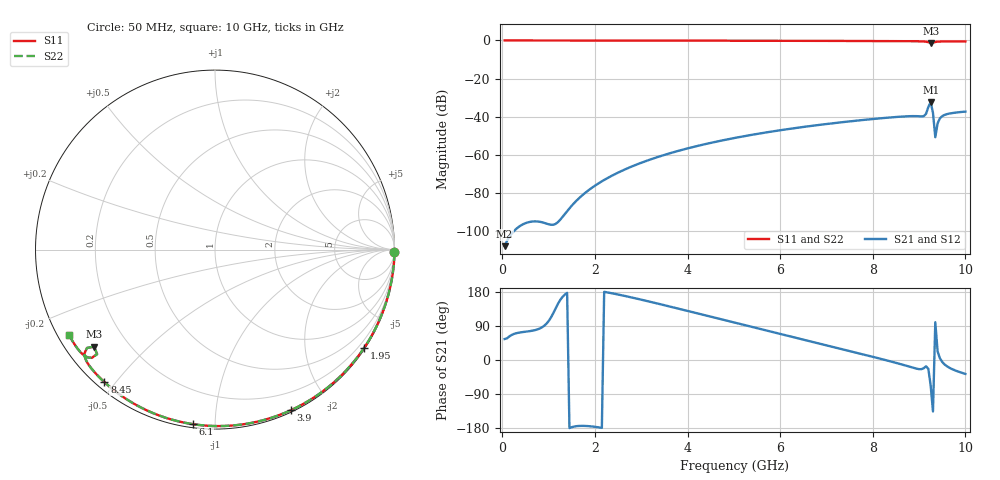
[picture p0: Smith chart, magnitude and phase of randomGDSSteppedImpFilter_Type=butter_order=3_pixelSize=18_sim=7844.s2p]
! freq	dB(S11)	phase(S11)	dB(S12)	phase(S12)
!  dB(S21)	phase(S21)	dB(S22)	phase(S22)
!S-par simulation data
#  GHz  S  DB  R 50
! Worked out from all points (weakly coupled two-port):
!   200 points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, 50 MHz to 10 GHz, reference 50 ohm
!   highest |S21| = -32.32 dB at 9.25 GHz (marker M1); lowest = -107.7 dB at 50 MHz (marker M2)
!   lowest |S11| = -1.3 dB at 9.25 GHz (marker M3), VSWR 13.75, Z = 4.08 - j17.4 ohm
!   |S11| at or under -10 dB: nowhere
!   |S22| runs from -1.3 to 0.0 dB; largest |S21 - S12| = 0
!   S11 on the Smith chart (normalised r, x): 50 MHz: open; 1.95 GHz: 0.03, -3.34; 3.9 GHz: 0.02, -1.58; 6.1 GHz: 0.02, -0.88; 8.45 GHz: 0.02, -0.47; 10 GHz: 0.03, -0.27
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0.05  -0.00 -0.9  -107.72 55.3  -107.72 55.3  -0.00 -0.9
0.9  -0.02 -15.6  -95.47 89.8  -95.47 89.8  -0.02 -15.6
1.75  -0.04 -30.0  -80.61 -173.8  -80.61 -173.8  -0.04 -30.0
1.95  -0.04 -33.3  -76.89 -175.6  -76.89 -175.6  -0.04 -33.3
2.6  -0.06 -44.0  -68.07 170.3  -68.07 170.3  -0.06 -44.0
3.4  -0.08 -56.9  -60.69 147.6  -60.69 147.6  -0.08 -56.9
3.9  -0.09 -64.7  -57.16 132.6  -57.16 132.6  -0.09 -64.7
5.05  -0.13 -82.1  -50.91 97.6  -50.91 97.6  -0.13 -82.1
6.1  -0.17 -97.3  -46.66 65.7  -46.66 65.7  -0.17 -97.3
6.7  -0.21 -105.8  -44.66 47.6  -44.66 47.6  -0.21 -105.8
8.35  -0.33 -128.5  -40.37 -2.6  -40.37 -2.6  -0.33 -128.5
8.45  -0.34 -129.9  -40.18 -5.8  -40.18 -5.8  -0.34 -129.9
9.1  -0.53 -140.3  -39.67 -21.7  -39.67 -21.7  -0.53 -140.4
9.15  -0.65 -141.5  -38.43 -16.5  -38.43 -16.5  -0.66 -141.6
9.25  -1.27 -141.3  -32.32 -67.2  -32.32 -67.2  -1.28 -141.2
9.3  -1.13 -138.5  -37.89 -135.8  -37.89 -135.8  -1.13 -138.4
9.35  -0.79 -138.7  -50.66 99.7  -50.66 99.7  -0.78 -138.7
9.4  -0.63 -139.8  -43.40 22.6  -43.40 22.6  -0.63 -139.8
9.45  -0.56 -140.9  -40.77 4.4  -40.77 4.4  -0.56 -140.9
9.5  -0.53 -141.9  -39.62 -5.3  -39.62 -5.3  -0.53 -141.9
9.65  -0.50 -144.5  -38.30 -20.1  -38.30 -20.1  -0.50 -144.5
10  -0.52 -149.7  -37.25 -36.7  -37.25 -36.7  -0.52 -149.7
